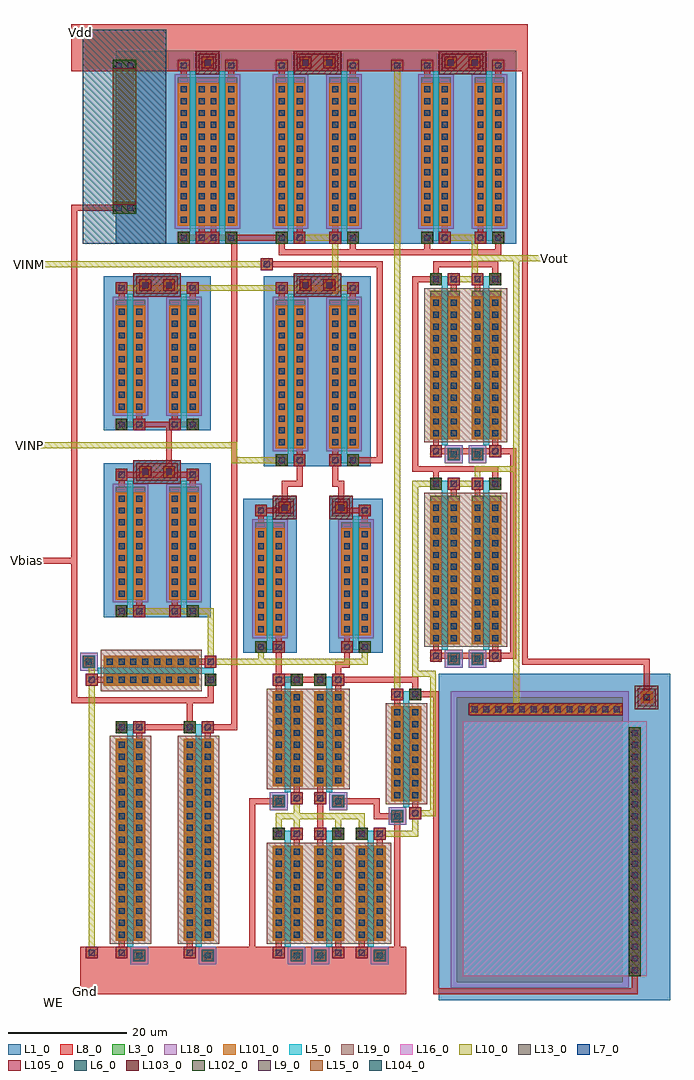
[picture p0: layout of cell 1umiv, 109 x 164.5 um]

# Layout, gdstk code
from math import pi, radians
import gdstk
lib = gdstk.Library(unit=1e-6, precision=1e-09)
def R(c, l, rs):  # rectangles x0, y0, x1, y1
    for r in rs: c.add(gdstk.rectangle(r[:2], r[2:], *l))
L1_0 = (1, 0)
L3_0 = (3, 0)
L5_0 = (5, 0)
L6_0 = (6, 0)
L7_0 = (7, 0)
L8_0 = (8, 0)
L9_0 = (9, 0)
L10_0 = (10, 0)
L13_0 = (13, 0)
L15_0 = (15, 0)
L16_0 = (16, 0)
L18_0 = (18, 0)
L19_0 = (19, 0)
L101_0 = (101, 0)
L102_0 = (102, 0)
L103_0 = (103, 0)
L104_0 = (104, 0)
L105_0 = (105, 0)

pcont = lib.new_cell('pcont')
R(pcont, L5_0, [(-1,-1,1,1)])
R(pcont, L7_0, [(-0.5,-0.5,0.5,0.5)])
R(pcont, L8_0, [(-1,-1,1,1)])
R(pcont, L13_0, [(-0.5,-0.5,0.5,0.5)])
R(pcont, L102_0, [(-1,-1,1,1)])
pcont.add(gdstk.Label('pcont', (0,0), layer=13, texttype=0))

via = lib.new_cell('Via')
R(via, L8_0, [(-1,-1,1,1)])
R(via, L9_0, [(-0.5,-0.5,0.5,0.5)])
R(via, L10_0, [(-1,-1,1,1)])
R(via, L13_0, [(-0.5,-0.5,0.5,0.5)])
R(via, L105_0, [(-1,-1,1,1)])
via.add(gdstk.Label('via', (0,0), layer=13, texttype=0))

dcont = lib.new_cell('dcont')
R(dcont, L3_0, [(-1,-1,1,1)])
R(dcont, L7_0, [(-0.5,-0.5,0.5,0.5)])
R(dcont, L8_0, [(-1,-1,1,1)])
R(dcont, L13_0, [(-0.5,-0.5,0.5,0.5)])
R(dcont, L101_0, [(-1,-1,1,1)])
dcont.add(gdstk.Label('dcont', (0,0), layer=13, texttype=0))

nsubcont = lib.new_cell('nsubcont')
R(nsubcont, L1_0, [(-2,-2,2,2)])
R(nsubcont, L19_0, [(-1.5,-1.5,1.5,1.5)])
R(nsubcont, L103_0, [(-2,-2,2,2)])
nsubcont.add(gdstk.Reference(dcont, (0,0)))
nsubcont.add(gdstk.Label('NScont', (0,0), layer=13, texttype=0))

capacitor_1 = lib.new_cell('Capacitor$1')
R(capacitor_1, L1_0, [(-4,-4,35,51)])
R(capacitor_1, L3_0, [(4,-1,32,47)])
R(capacitor_1, L5_0, [(0,0,31,43)])
R(capacitor_1, L16_0, [(0,0,31,43)])
R(capacitor_1, L18_0, [(3,-2,33,48)])
capacitor_1.add(gdstk.Reference(pcont, (2,1)))
capacitor_1.add(gdstk.Reference(pcont, (2,3)))
capacitor_1.add(gdstk.Reference(pcont, (2,5)))
capacitor_1.add(gdstk.Reference(pcont, (2,7)))
capacitor_1.add(gdstk.Reference(pcont, (2,9)))
capacitor_1.add(gdstk.Reference(pcont, (2,11)))
capacitor_1.add(gdstk.Reference(pcont, (2,13)))
capacitor_1.add(gdstk.Reference(pcont, (2,15)))
capacitor_1.add(gdstk.Reference(pcont, (2,17)))
capacitor_1.add(gdstk.Reference(pcont, (2,19)))
capacitor_1.add(gdstk.Reference(pcont, (2,21)))
capacitor_1.add(gdstk.Reference(pcont, (2,23)))
capacitor_1.add(gdstk.Reference(pcont, (2,25)))
capacitor_1.add(gdstk.Reference(pcont, (2,27)))
capacitor_1.add(gdstk.Reference(pcont, (2,29)))
capacitor_1.add(gdstk.Reference(pcont, (2,31)))
capacitor_1.add(gdstk.Reference(pcont, (2,33)))
capacitor_1.add(gdstk.Reference(pcont, (2,35)))
capacitor_1.add(gdstk.Reference(pcont, (2,37)))
capacitor_1.add(gdstk.Reference(pcont, (2,39)))
capacitor_1.add(gdstk.Reference(pcont, (2,41)))
capacitor_1.add(gdstk.Reference(via, (2,1)))
capacitor_1.add(gdstk.Reference(via, (2,3)))
capacitor_1.add(gdstk.Reference(via, (2,5)))
capacitor_1.add(gdstk.Reference(via, (2,7)))
capacitor_1.add(gdstk.Reference(via, (2,9)))
capacitor_1.add(gdstk.Reference(via, (2,11)))
capacitor_1.add(gdstk.Reference(via, (2,13)))
capacitor_1.add(gdstk.Reference(via, (2,15)))
capacitor_1.add(gdstk.Reference(via, (2,17)))
capacitor_1.add(gdstk.Reference(via, (2,19)))
capacitor_1.add(gdstk.Reference(via, (2,21)))
capacitor_1.add(gdstk.Reference(via, (2,23)))
capacitor_1.add(gdstk.Reference(via, (2,25)))
capacitor_1.add(gdstk.Reference(via, (2,27)))
capacitor_1.add(gdstk.Reference(via, (2,29)))
capacitor_1.add(gdstk.Reference(via, (2,31)))
capacitor_1.add(gdstk.Reference(via, (2,33)))
capacitor_1.add(gdstk.Reference(via, (2,35)))
capacitor_1.add(gdstk.Reference(via, (2,37)))
capacitor_1.add(gdstk.Reference(via, (2,39)))
capacitor_1.add(gdstk.Reference(via, (2,41)))
capacitor_1.add(gdstk.Reference(dcont, (5,45)))
capacitor_1.add(gdstk.Reference(dcont, (7,45)))
capacitor_1.add(gdstk.Reference(dcont, (9,45)))
capacitor_1.add(gdstk.Reference(dcont, (11,45)))
capacitor_1.add(gdstk.Reference(dcont, (13,45)))
capacitor_1.add(gdstk.Reference(dcont, (15,45)))
capacitor_1.add(gdstk.Reference(dcont, (17,45)))
capacitor_1.add(gdstk.Reference(dcont, (19,45)))
capacitor_1.add(gdstk.Reference(dcont, (21,45)))
capacitor_1.add(gdstk.Reference(dcont, (23,45)))
capacitor_1.add(gdstk.Reference(dcont, (25,45)))
capacitor_1.add(gdstk.Reference(dcont, (27,45)))
capacitor_1.add(gdstk.Reference(dcont, (29,45)))
capacitor_1.add(gdstk.Reference(via, (5,45)))
capacitor_1.add(gdstk.Reference(via, (7,45)))
capacitor_1.add(gdstk.Reference(via, (9,45)))
capacitor_1.add(gdstk.Reference(via, (11,45)))
capacitor_1.add(gdstk.Reference(via, (13,45)))
capacitor_1.add(gdstk.Reference(via, (15,45)))
capacitor_1.add(gdstk.Reference(via, (17,45)))
capacitor_1.add(gdstk.Reference(via, (19,45)))
capacitor_1.add(gdstk.Reference(via, (21,45)))
capacitor_1.add(gdstk.Reference(via, (23,45)))
capacitor_1.add(gdstk.Reference(via, (25,45)))
capacitor_1.add(gdstk.Reference(via, (27,45)))
capacitor_1.add(gdstk.Reference(via, (29,45)))
capacitor_1.add(gdstk.Reference(nsubcont, (0,47)))

pch_9 = lib.new_cell('Pch$9')
R(pch_9, L1_0, [(-2,0,7,26)])
R(pch_9, L3_0, [(0,3,5,22)])
R(pch_9, L18_0, [(-0.5,2.5,5.5,22.5)])
pch_9.add(gdstk.FlexPath([(1,3),(1,22)], 2, ends="flush", simple_path=True, layer=8, datatype=0))  # L8_0
pch_9.add(gdstk.FlexPath([(4,3),(4,22)], 2, ends="flush", simple_path=True, layer=8, datatype=0))  # L8_0
pch_9.add(gdstk.FlexPath([(1,22),(1,24)], 1, ends="flush", simple_path=True, layer=8, datatype=0))  # L8_0
pch_9.add(gdstk.FlexPath([(4,0),(4,3)], 1, ends="flush", simple_path=True, layer=8, datatype=0))  # L8_0
pch_9.add(gdstk.FlexPath([(2.5,3),(2.5,22)], 1, ends=(1, 1), simple_path=True, layer=5, datatype=0))  # L5_0
pch_9.add(gdstk.FlexPath([(1,1),(2.5,1),(2.5,2)], 1, ends="flush", simple_path=True, layer=5, datatype=0))  # L5_0
pch_9.add(gdstk.Reference(dcont, (1,4)))
pch_9.add(gdstk.Reference(dcont, (1,6)))
pch_9.add(gdstk.Reference(dcont, (1,8)))
pch_9.add(gdstk.Reference(dcont, (1,10)))
pch_9.add(gdstk.Reference(dcont, (1,12)))
pch_9.add(gdstk.Reference(dcont, (1,14)))
pch_9.add(gdstk.Reference(dcont, (1,16)))
pch_9.add(gdstk.Reference(dcont, (1,18)))
pch_9.add(gdstk.Reference(dcont, (1,20)))
pch_9.add(gdstk.Reference(dcont, (4,4)))
pch_9.add(gdstk.Reference(dcont, (4,6)))
pch_9.add(gdstk.Reference(dcont, (4,8)))
pch_9.add(gdstk.Reference(dcont, (4,10)))
pch_9.add(gdstk.Reference(dcont, (4,12)))
pch_9.add(gdstk.Reference(dcont, (4,14)))
pch_9.add(gdstk.Reference(dcont, (4,16)))
pch_9.add(gdstk.Reference(dcont, (4,18)))
pch_9.add(gdstk.Reference(dcont, (4,20)))
pch_9.add(gdstk.Reference(pcont, (1,1)))
pch_9.add(gdstk.Reference(via, (1,1)))
pch_9.add(gdstk.Reference(via, (1,24)))
pch_9.add(gdstk.Reference(via, (4,1)))
pch_9.add(gdstk.Reference(nsubcont, (5,24.5)))
pch_9.add(gdstk.Reference(via, (5,24.5)))

psubcont = lib.new_cell('psubcont')
R(psubcont, L18_0, [(-1.5,-1.5,1.5,1.5)])
R(psubcont, L104_0, [(-1,-1,1,1)])
psubcont.add(gdstk.Reference(dcont, (0,0)))
psubcont.add(gdstk.Label('PScon', (0,0), layer=13, texttype=0))

nch = lib.new_cell('Nch')
R(nch, L3_0, [(0,3,5,19)])
R(nch, L19_0, [(-1,2.5,6,19.5)])
nch.add(gdstk.FlexPath([(1,3),(1,19)], 2, ends="flush", simple_path=True, layer=8, datatype=0))  # L8_0
nch.add(gdstk.FlexPath([(4,3),(4,19)], 2, ends="flush", simple_path=True, layer=8, datatype=0))  # L8_0
nch.add(gdstk.FlexPath([(1,1),(1,4)], 1, ends="flush", simple_path=True, layer=8, datatype=0))  # L8_0
nch.add(gdstk.FlexPath([(4,19),(4,22)], 1, ends="flush", simple_path=True, layer=8, datatype=0))  # L8_0
nch.add(gdstk.FlexPath([(2.5,3),(2.5,19)], 1, ends=(1, 1), simple_path=True, layer=5, datatype=0))  # L5_0
nch.add(gdstk.FlexPath([(1,21),(2.5,21),(2.5,20)], 1, ends="flush", simple_path=True, layer=5, datatype=0))  # L5_0
nch.add(gdstk.Reference(dcont, (1,4)))
nch.add(gdstk.Reference(dcont, (1,6)))
nch.add(gdstk.Reference(dcont, (1,8)))
nch.add(gdstk.Reference(dcont, (1,10)))
nch.add(gdstk.Reference(dcont, (1,12)))
nch.add(gdstk.Reference(dcont, (1,14)))
nch.add(gdstk.Reference(dcont, (1,16)))
nch.add(gdstk.Reference(dcont, (1,18)))
nch.add(gdstk.Reference(dcont, (4,4)))
nch.add(gdstk.Reference(dcont, (4,6)))
nch.add(gdstk.Reference(dcont, (4,8)))
nch.add(gdstk.Reference(dcont, (4,10)))
nch.add(gdstk.Reference(dcont, (4,12)))
nch.add(gdstk.Reference(dcont, (4,14)))
nch.add(gdstk.Reference(dcont, (4,16)))
nch.add(gdstk.Reference(dcont, (4,18)))
nch.add(gdstk.Reference(pcont, (1,21)))
nch.add(gdstk.Reference(via, (1,21)))
nch.add(gdstk.Reference(via, (1,1)))
nch.add(gdstk.Reference(via, (4,21)))
nch.add(gdstk.Reference(psubcont, (4,0.5)))
nch.add(gdstk.Reference(via, (4,0.5)))

nch_1 = lib.new_cell('Nch$1')
R(nch_1, L3_0, [(0,3,5,37)])
R(nch_1, L19_0, [(-1,2.5,6,37.5)])
nch_1.add(gdstk.FlexPath([(1,3),(1,37)], 2, ends="flush", simple_path=True, layer=8, datatype=0))  # L8_0
nch_1.add(gdstk.FlexPath([(4,3),(4,37)], 2, ends="flush", simple_path=True, layer=8, datatype=0))  # L8_0
nch_1.add(gdstk.FlexPath([(1,1),(1,4)], 1, ends="flush", simple_path=True, layer=8, datatype=0))  # L8_0
nch_1.add(gdstk.FlexPath([(4,37),(4,40)], 1, ends="flush", simple_path=True, layer=8, datatype=0))  # L8_0
nch_1.add(gdstk.FlexPath([(2.5,3),(2.5,37)], 1, ends=(1, 1), simple_path=True, layer=5, datatype=0))  # L5_0
nch_1.add(gdstk.FlexPath([(1,39),(2.5,39),(2.5,38)], 1, ends="flush", simple_path=True, layer=5, datatype=0))  # L5_0
nch_1.add(gdstk.Reference(dcont, (1,4)))
nch_1.add(gdstk.Reference(dcont, (1,6)))
nch_1.add(gdstk.Reference(dcont, (1,8)))
nch_1.add(gdstk.Reference(dcont, (1,10)))
nch_1.add(gdstk.Reference(dcont, (1,12)))
nch_1.add(gdstk.Reference(dcont, (1,14)))
nch_1.add(gdstk.Reference(dcont, (1,16)))
nch_1.add(gdstk.Reference(dcont, (1,18)))
nch_1.add(gdstk.Reference(dcont, (1,20)))
nch_1.add(gdstk.Reference(dcont, (1,22)))
nch_1.add(gdstk.Reference(dcont, (1,24)))
nch_1.add(gdstk.Reference(dcont, (1,26)))
nch_1.add(gdstk.Reference(dcont, (1,28)))
nch_1.add(gdstk.Reference(dcont, (1,30)))
nch_1.add(gdstk.Reference(dcont, (1,32)))
nch_1.add(gdstk.Reference(dcont, (1,34)))
nch_1.add(gdstk.Reference(dcont, (1,36)))
nch_1.add(gdstk.Reference(dcont, (4,4)))
nch_1.add(gdstk.Reference(dcont, (4,6)))
nch_1.add(gdstk.Reference(dcont, (4,8)))
nch_1.add(gdstk.Reference(dcont, (4,10)))
nch_1.add(gdstk.Reference(dcont, (4,12)))
nch_1.add(gdstk.Reference(dcont, (4,14)))
nch_1.add(gdstk.Reference(dcont, (4,16)))
nch_1.add(gdstk.Reference(dcont, (4,18)))
nch_1.add(gdstk.Reference(dcont, (4,20)))
nch_1.add(gdstk.Reference(dcont, (4,22)))
nch_1.add(gdstk.Reference(dcont, (4,24)))
nch_1.add(gdstk.Reference(dcont, (4,26)))
nch_1.add(gdstk.Reference(dcont, (4,28)))
nch_1.add(gdstk.Reference(dcont, (4,30)))
nch_1.add(gdstk.Reference(dcont, (4,32)))
nch_1.add(gdstk.Reference(dcont, (4,34)))
nch_1.add(gdstk.Reference(dcont, (4,36)))
nch_1.add(gdstk.Reference(pcont, (1,39)))
nch_1.add(gdstk.Reference(via, (1,39)))
nch_1.add(gdstk.Reference(via, (1,1)))
nch_1.add(gdstk.Reference(via, (4,39)))
nch_1.add(gdstk.Reference(psubcont, (4,0.5)))
nch_1.add(gdstk.Reference(via, (4,0.5)))

via_1 = lib.new_cell('Via$1')
R(via_1, L8_0, [(-1,-1,1,1)])
R(via_1, L9_0, [(-0.5,-0.5,0.5,0.5)])
R(via_1, L10_0, [(-1,-1,1,1)])
R(via_1, L13_0, [(-0.5,-0.5,0.5,0.5)])
R(via_1, L105_0, [(-1,-1,1,1)])
via_1.add(gdstk.Label('via', (0,0), layer=13, texttype=0))

nch_2 = lib.new_cell('Nch$2')
R(nch_2, L3_0, [(0,3,5,28)])
R(nch_2, L19_0, [(-1,2.5,6,28.5)])
nch_2.add(gdstk.FlexPath([(1,3),(1,28)], 2, ends="flush", simple_path=True, layer=8, datatype=0))  # L8_0
nch_2.add(gdstk.FlexPath([(4,3),(4,28)], 2, ends="flush", simple_path=True, layer=8, datatype=0))  # L8_0
nch_2.add(gdstk.FlexPath([(1,1),(1,4)], 1, ends="flush", simple_path=True, layer=8, datatype=0))  # L8_0
nch_2.add(gdstk.FlexPath([(4,28),(4,31)], 1, ends="flush", simple_path=True, layer=8, datatype=0))  # L8_0
nch_2.add(gdstk.FlexPath([(2.5,3),(2.5,28)], 1, ends=(1, 1), simple_path=True, layer=5, datatype=0))  # L5_0
nch_2.add(gdstk.FlexPath([(1,30),(2.5,30),(2.5,29)], 1, ends="flush", simple_path=True, layer=5, datatype=0))  # L5_0
nch_2.add(gdstk.Reference(dcont, (1,4)))
nch_2.add(gdstk.Reference(dcont, (1,6)))
nch_2.add(gdstk.Reference(dcont, (1,8)))
nch_2.add(gdstk.Reference(dcont, (1,10)))
nch_2.add(gdstk.Reference(dcont, (1,12)))
nch_2.add(gdstk.Reference(dcont, (1,14)))
nch_2.add(gdstk.Reference(dcont, (1,16)))
nch_2.add(gdstk.Reference(dcont, (1,18)))
nch_2.add(gdstk.Reference(dcont, (1,20)))
nch_2.add(gdstk.Reference(dcont, (1,22)))
nch_2.add(gdstk.Reference(dcont, (1,24)))
nch_2.add(gdstk.Reference(dcont, (1,26)))
nch_2.add(gdstk.Reference(dcont, (4,4)))
nch_2.add(gdstk.Reference(dcont, (4,6)))
nch_2.add(gdstk.Reference(dcont, (4,8)))
nch_2.add(gdstk.Reference(dcont, (4,10)))
nch_2.add(gdstk.Reference(dcont, (4,12)))
nch_2.add(gdstk.Reference(dcont, (4,14)))
nch_2.add(gdstk.Reference(dcont, (4,16)))
nch_2.add(gdstk.Reference(dcont, (4,18)))
nch_2.add(gdstk.Reference(dcont, (4,20)))
nch_2.add(gdstk.Reference(dcont, (4,22)))
nch_2.add(gdstk.Reference(dcont, (4,24)))
nch_2.add(gdstk.Reference(dcont, (4,26)))
nch_2.add(gdstk.Reference(pcont, (1,30)))
nch_2.add(gdstk.Reference(via, (1,30)))
nch_2.add(gdstk.Reference(via, (1,1)))
nch_2.add(gdstk.Reference(via, (4,30)))
nch_2.add(gdstk.Reference(psubcont, (4,0.5)))
nch_2.add(gdstk.Reference(via, (4,0.5)))

pch = lib.new_cell('Pch')
R(pch, L1_0, [(-2,0,7,32)])
R(pch, L3_0, [(0,3,5,28)])
R(pch, L18_0, [(-0.5,2.5,5.5,28.5)])
pch.add(gdstk.FlexPath([(1,3),(1,28)], 2, ends="flush", simple_path=True, layer=8, datatype=0))  # L8_0
pch.add(gdstk.FlexPath([(4,3),(4,28)], 2, ends="flush", simple_path=True, layer=8, datatype=0))  # L8_0
pch.add(gdstk.FlexPath([(1,28),(1,30)], 1, ends="flush", simple_path=True, layer=8, datatype=0))  # L8_0
pch.add(gdstk.FlexPath([(4,0),(4,3)], 1, ends="flush", simple_path=True, layer=8, datatype=0))  # L8_0
pch.add(gdstk.FlexPath([(2.5,3),(2.5,28)], 1, ends=(1, 1), simple_path=True, layer=5, datatype=0))  # L5_0
pch.add(gdstk.FlexPath([(1,1),(2.5,1),(2.5,2)], 1, ends="flush", simple_path=True, layer=5, datatype=0))  # L5_0
pch.add(gdstk.Reference(dcont, (1,4)))
pch.add(gdstk.Reference(dcont, (1,6)))
pch.add(gdstk.Reference(dcont, (1,8)))
pch.add(gdstk.Reference(dcont, (1,10)))
pch.add(gdstk.Reference(dcont, (1,12)))
pch.add(gdstk.Reference(dcont, (1,14)))
pch.add(gdstk.Reference(dcont, (1,16)))
pch.add(gdstk.Reference(dcont, (1,18)))
pch.add(gdstk.Reference(dcont, (1,20)))
pch.add(gdstk.Reference(dcont, (1,22)))
pch.add(gdstk.Reference(dcont, (1,24)))
pch.add(gdstk.Reference(dcont, (1,26)))
pch.add(gdstk.Reference(dcont, (4,4)))
pch.add(gdstk.Reference(dcont, (4,6)))
pch.add(gdstk.Reference(dcont, (4,8)))
pch.add(gdstk.Reference(dcont, (4,10)))
pch.add(gdstk.Reference(dcont, (4,12)))
pch.add(gdstk.Reference(dcont, (4,14)))
pch.add(gdstk.Reference(dcont, (4,16)))
pch.add(gdstk.Reference(dcont, (4,18)))
pch.add(gdstk.Reference(dcont, (4,20)))
pch.add(gdstk.Reference(dcont, (4,22)))
pch.add(gdstk.Reference(dcont, (4,24)))
pch.add(gdstk.Reference(dcont, (4,26)))
pch.add(gdstk.Reference(pcont, (1,1)))
pch.add(gdstk.Reference(via, (1,1)))
pch.add(gdstk.Reference(via, (1,30)))
pch.add(gdstk.Reference(via, (4,1)))
pch.add(gdstk.Reference(nsubcont, (5,30.5)))
pch.add(gdstk.Reference(via, (5,30.5)))

hr_poly = lib.new_cell('HR_poly')
R(hr_poly, L6_0, [(-6,-5,8,31)])
R(hr_poly, L8_0, [(-1,0,3,2), (-1,24,3,26)])
R(hr_poly, L10_0, [(-1,0,3,2), (-1,24,3,26)])
hr_poly.add(gdstk.FlexPath([(1,2),(1,24)], 4, ends="extended", simple_path=True, layer=5, datatype=0))  # L5_0
hr_poly.add(gdstk.FlexPath([(1,2),(1,24)], 4, ends=(0.5, 0.5), simple_path=True, layer=15, datatype=0))  # L15_0
hr_poly.add(gdstk.Reference(via, (0,1)))
hr_poly.add(gdstk.Reference(pcont, (0,1)))
hr_poly.add(gdstk.Reference(via, (2,1)))
hr_poly.add(gdstk.Reference(pcont, (2,1)))
hr_poly.add(gdstk.Reference(via, (0,25)))
hr_poly.add(gdstk.Reference(pcont, (0,25)))
hr_poly.add(gdstk.Reference(via, (2,25)))
hr_poly.add(gdstk.Reference(pcont, (2,25)))

dcont_2 = lib.new_cell('dcont$2')
R(dcont_2, L3_0, [(-1,-1,1,1)])
R(dcont_2, L7_0, [(-0.5,-0.5,0.5,0.5)])
R(dcont_2, L8_0, [(-1,-1,1,1)])
R(dcont_2, L13_0, [(-0.5,-0.5,0.5,0.5)])
R(dcont_2, L101_0, [(-1,-1,1,1)])
dcont_2.add(gdstk.Label('dcont', (0,0), layer=13, texttype=0))

pcont_1 = lib.new_cell('pcont$1')
R(pcont_1, L5_0, [(-1,-1,1,1)])
R(pcont_1, L7_0, [(-0.5,-0.5,0.5,0.5)])
R(pcont_1, L8_0, [(-1,-1,1,1)])
R(pcont_1, L13_0, [(-0.5,-0.5,0.5,0.5)])
R(pcont_1, L102_0, [(-1,-1,1,1)])
pcont_1.add(gdstk.Label('pcont', (0,0), layer=13, texttype=0))

pch_1 = lib.new_cell('Pch$1')
R(pch_1, L1_0, [(-2,0,7,32)])
R(pch_1, L3_0, [(0,3,5,28)])
R(pch_1, L18_0, [(-0.5,2.5,5.5,28.5)])
pch_1.add(gdstk.FlexPath([(1,3),(1,28)], 2, ends="flush", simple_path=True, layer=8, datatype=0))  # L8_0
pch_1.add(gdstk.FlexPath([(4,3),(4,28)], 2, ends="flush", simple_path=True, layer=8, datatype=0))  # L8_0
pch_1.add(gdstk.FlexPath([(1,28),(1,30)], 1, ends="flush", simple_path=True, layer=8, datatype=0))  # L8_0
pch_1.add(gdstk.FlexPath([(4,0),(4,3)], 1, ends="flush", simple_path=True, layer=8, datatype=0))  # L8_0
pch_1.add(gdstk.FlexPath([(2.5,3),(2.5,28)], 1, ends=(1, 1), simple_path=True, layer=5, datatype=0))  # L5_0
pch_1.add(gdstk.FlexPath([(1,1),(2.5,1),(2.5,2)], 1, ends="flush", simple_path=True, layer=5, datatype=0))  # L5_0
pch_1.add(gdstk.Reference(dcont_2, (1,4)))
pch_1.add(gdstk.Reference(dcont_2, (1,6)))
pch_1.add(gdstk.Reference(dcont_2, (1,8)))
pch_1.add(gdstk.Reference(dcont_2, (1,10)))
pch_1.add(gdstk.Reference(dcont_2, (1,12)))
pch_1.add(gdstk.Reference(dcont_2, (1,14)))
pch_1.add(gdstk.Reference(dcont_2, (1,16)))
pch_1.add(gdstk.Reference(dcont_2, (1,18)))
pch_1.add(gdstk.Reference(dcont_2, (1,20)))
pch_1.add(gdstk.Reference(dcont_2, (1,22)))
pch_1.add(gdstk.Reference(dcont_2, (1,24)))
pch_1.add(gdstk.Reference(dcont_2, (1,26)))
pch_1.add(gdstk.Reference(dcont_2, (4,4)))
pch_1.add(gdstk.Reference(dcont_2, (4,6)))
pch_1.add(gdstk.Reference(dcont_2, (4,8)))
pch_1.add(gdstk.Reference(dcont_2, (4,10)))
pch_1.add(gdstk.Reference(dcont_2, (4,12)))
pch_1.add(gdstk.Reference(dcont_2, (4,14)))
pch_1.add(gdstk.Reference(dcont_2, (4,16)))
pch_1.add(gdstk.Reference(dcont_2, (4,18)))
pch_1.add(gdstk.Reference(dcont_2, (4,20)))
pch_1.add(gdstk.Reference(dcont_2, (4,22)))
pch_1.add(gdstk.Reference(dcont_2, (4,24)))
pch_1.add(gdstk.Reference(dcont_2, (4,26)))
pch_1.add(gdstk.Reference(pcont_1, (1,1)))
pch_1.add(gdstk.Reference(via_1, (1,1)))
pch_1.add(gdstk.Reference(via_1, (1,30)))
pch_1.add(gdstk.Reference(via_1, (4,1)))
pch_1.add(gdstk.Reference(via_1, (5,30.5)))

c_1umiv = lib.new_cell('1umiv')
R(c_1umiv, L1_0, [(10,123.5,77.5,156)])
R(c_1umiv, L19_0, [(13.5,83.5,20.5,86.5), (13.5,115,20.5,118), (40.5,115,47.5,118), (40.5,152.5,47.5,155.5), (65,152.5,72,155.5)])
c_1umiv.add(gdstk.FlexPath([(19,93.5),(19,84)], 1, ends="flush", simple_path=True, layer=8, datatype=0))  # L8_0
c_1umiv.add(gdstk.FlexPath([(10,84.5),(24,84.5)], 1, ends="flush", simple_path=True, layer=8, datatype=0))  # L8_0
c_1umiv.add(gdstk.FlexPath([(38.5,78.5),(38.5,83),(41,83),(41,88)], 1, ends="flush", simple_path=True, layer=8, datatype=0))  # L8_0
c_1umiv.add(gdstk.FlexPath([(47,88),(47,83),(48,83),(48,78.5)], 1, ends="flush", simple_path=True, layer=8, datatype=0))  # L8_0
c_1umiv.add(gdstk.FlexPath([(49,55.5),(49,52.5),(47.5,52.5),(47.5,50)], 1, ends="flush", simple_path=True, layer=8, datatype=0))  # L8_0
c_1umiv.add(gdstk.FlexPath([(37.5,56.5),(37.5,49.5)], 1, ends="flush", simple_path=True, layer=8, datatype=0))  # L8_0
c_1umiv.add(gdstk.FlexPath([(48,78.5),(53,78.5)], 1, ends="flush", simple_path=True, layer=8, datatype=0))  # L8_0
c_1umiv.add(gdstk.FlexPath([(35,78.5),(38.5,78.5)], 1, ends="flush", simple_path=True, layer=8, datatype=0))  # L8_0
c_1umiv.add(gdstk.FlexPath([(22.5,46.5),(3,46.5),(3,129.5)], 1, ends="flush", simple_path=True, layer=8, datatype=0))  # L8_0
c_1umiv.add(gdstk.FlexPath([(26,51),(26,46.5),(22.5,46.5),(22.5,41.5)], 1, ends="flush", simple_path=True, layer=8, datatype=0))  # L8_0
c_1umiv.add(gdstk.FlexPath([(37,29.5),(33,29.5),(33,2.5)], 1, ends="flush", simple_path=True, layer=8, datatype=0))  # L8_0
c_1umiv.add(gdstk.FlexPath([(60.5,47.5),(60.5,50),(47,50)], 1, ends="flush", simple_path=True, layer=8, datatype=0))  # L8_0
c_1umiv.add(gdstk.FlexPath([(79,152.5),(79,53),(99.5,53),(99.5,46.5)], 1, ends="flush", simple_path=True, layer=8, datatype=0))  # L8_0
c_1umiv.add(gdstk.FlexPath([(44.5,31),(44.5,23)], 1, ends="flush", simple_path=True, layer=8, datatype=0))  # L8_0
c_1umiv.add(gdstk.FlexPath([(38,50.5),(40.5,50.5)], 1, ends="flush", simple_path=True, layer=8, datatype=0))  # L8_0
c_1umiv.add(gdstk.FlexPath([(37,50),(45,50)], 1, ends="flush", simple_path=True, layer=8, datatype=0))  # L8_0
c_1umiv.add(gdstk.FlexPath([(47.5,29.5),(54,29.5),(54,27),(57.5,27),(57.5,3.5)], 1, ends="flush", simple_path=True, layer=8, datatype=0))  # L8_0
c_1umiv.add(gdstk.FlexPath([(60.5,47.5),(64,47.5),(64,-2.5),(97.5,-2.5),(97.5,4)], 1, ends="flush", simple_path=True, layer=8, datatype=0))  # L8_0
c_1umiv.add(gdstk.FlexPath([(4,1),(59,1)], 8, ends="flush", simple_path=True, layer=8, datatype=0))  # L8_0
c_1umiv.add(gdstk.FlexPath([(74,82.5),(74,85.5)], 1, ends="flush", simple_path=True, layer=8, datatype=0))  # L8_0
c_1umiv.add(gdstk.FlexPath([(63.5,88.5),(77,88.5),(77,54),(64,54)], 1, ends="flush", simple_path=True, layer=8, datatype=0))  # L8_0
c_1umiv.add(gdstk.FlexPath([(2.5,156.5),(79.5,156.5)], 8, ends="flush", simple_path=True, layer=8, datatype=0))  # L8_0
c_1umiv.add(gdstk.FlexPath([(74,117.5),(74,120),(64,120),(64,117.5),(60.5,117.5),(60.5,85.5),(64.5,85.5)], 1, ends="flush", simple_path=True, layer=8, datatype=0))  # L8_0
c_1umiv.add(gdstk.FlexPath([(64,82.5),(64,85.5),(74.5,85.5)], 1, ends="flush", simple_path=True, layer=8, datatype=0))  # L8_0
c_1umiv.add(gdstk.FlexPath([(10.5,129.5),(2.5,129.5)], 1, ends="flush", simple_path=True, layer=8, datatype=0))  # L8_0
c_1umiv.add(gdstk.FlexPath([(3,70),(-5.5,70)], 1, ends="flush", simple_path=True, layer=8, datatype=0))  # L8_0
c_1umiv.add(gdstk.FlexPath([(21.5,124.5),(39,124.5)], 1, ends="flush", simple_path=True, layer=8, datatype=0))  # L8_0
c_1umiv.add(gdstk.FlexPath([(25,42),(30,42),(30,124)], 1, ends="flush", simple_path=True, layer=8, datatype=0))  # L8_0
c_1umiv.add(gdstk.FlexPath([(11,42),(23.5,42)], 1, ends="flush", simple_path=True, layer=8, datatype=0))  # L8_0
c_1umiv.add(gdstk.FlexPath([(11.5,93),(22.5,93)], 1, ends="flush", simple_path=True, layer=8, datatype=0))  # L8_0
c_1umiv.add(gdstk.FlexPath([(49,87),(54.5,87),(54.5,120),(34.5,120)], 1, ends="flush", simple_path=True, layer=8, datatype=0))  # L8_0
c_1umiv.add(gdstk.FlexPath([(50,125.5),(50,122)], 1, ends="flush", simple_path=True, layer=8, datatype=0))  # L8_0
c_1umiv.add(gdstk.FlexPath([(62.5,125.5),(62.5,122)], 1, ends="flush", simple_path=True, layer=8, datatype=0))  # L8_0
c_1umiv.add(gdstk.FlexPath([(38,125.5),(38,122),(74.5,122),(74.5,125.5)], 1, ends="flush", simple_path=True, layer=8, datatype=0))  # L8_0
c_1umiv.add(gdstk.FlexPath([(77.5,85.5),(77.5,45)], 1, ends="flush", simple_path=True, layer=10, datatype=0))  # L10_0
c_1umiv.add(gdstk.FlexPath([(26,52.5),(26,61.5),(22,61.5)], 1, ends="flush", simple_path=True, layer=10, datatype=0))  # L10_0
c_1umiv.add(gdstk.FlexPath([(11,61.5),(22.5,61.5)], 1, ends="flush", simple_path=True, layer=10, datatype=0))  # L10_0
c_1umiv.add(gdstk.FlexPath([(34.5,56.5),(34.5,53)], 1, ends="flush", simple_path=True, layer=10, datatype=0))  # L10_0
c_1umiv.add(gdstk.FlexPath([(26,53),(52,53),(52,56.5)], 1, ends="flush", simple_path=True, layer=10, datatype=0))  # L10_0
c_1umiv.add(gdstk.FlexPath([(6,54),(6,3.5)], 1, ends="flush", simple_path=True, layer=10, datatype=0))  # L10_0
c_1umiv.add(gdstk.FlexPath([(40.5,31),(40.5,23)], 1, ends="flush", simple_path=True, layer=10, datatype=0))  # L10_0
c_1umiv.add(gdstk.FlexPath([(77.5,121),(77.5,85.5),(71,85.5),(71,82.5)], 1, ends="flush", simple_path=True, layer=10, datatype=0))  # L10_0
c_1umiv.add(gdstk.FlexPath([(66.5,83),(71,83)], 1, ends="flush", simple_path=True, layer=10, datatype=0))  # L10_0
c_1umiv.add(gdstk.FlexPath([(57.5,47),(57.5,154)], 1, ends="flush", simple_path=True, layer=10, datatype=0))  # L10_0
c_1umiv.add(gdstk.FlexPath([(60.5,27.5),(60.5,24),(54.5,24)], 1, ends="flush", simple_path=True, layer=10, datatype=0))  # L10_0
c_1umiv.add(gdstk.FlexPath([(60.5,27.5),(63.5,27.5),(63.5,51),(60.5,51),(60.5,83),(64,83)], 1, ends="flush", simple_path=True, layer=10, datatype=0))  # L10_0
c_1umiv.add(gdstk.FlexPath([(70.5,121),(84.5,121)], 1, ends="flush", simple_path=True, layer=10, datatype=0))  # L10_0
c_1umiv.add(gdstk.FlexPath([(39,87),(30,87),(30,89.5),(-5.5,89.5)], 1, ends="flush", simple_path=True, layer=10, datatype=0))  # L10_0
c_1umiv.add(gdstk.FlexPath([(36.5,120),(-5,120)], 1, ends="flush", simple_path=True, layer=10, datatype=0))  # L10_0
c_1umiv.add(gdstk.FlexPath([(47.5,23),(47.5,27)], 1, ends="flush", simple_path=True, layer=10, datatype=0))  # L10_0
c_1umiv.add(gdstk.FlexPath([(37.5,23),(37.5,27),(51.5,27),(51.5,23)], 1, ends="flush", simple_path=True, layer=10, datatype=0))  # L10_0
c_1umiv.add(gdstk.FlexPath([(51,116),(10,116)], 1, ends="flush", simple_path=True, layer=10, datatype=0))  # L10_0
c_1umiv.add(gdstk.FlexPath([(70.5,125),(70.5,117)], 1, ends="flush", simple_path=True, layer=10, datatype=0))  # L10_0
c_1umiv.add(gdstk.FlexPath([(65,124.5),(72,124.5)], 1, ends="flush", simple_path=True, layer=10, datatype=0))  # L10_0
c_1umiv.add(gdstk.FlexPath([(66.5,117.5),(71,117.5)], 1, ends="flush", simple_path=True, layer=10, datatype=0))  # L10_0
c_1umiv.add(gdstk.FlexPath([(47,125.5),(47,115)], 1, ends="flush", simple_path=True, layer=10, datatype=0))  # L10_0
c_1umiv.add(gdstk.FlexPath([(40.5,124.5),(47.5,124.5)], 1, ends="flush", simple_path=True, layer=10, datatype=0))  # L10_0
r = gdstk.Reference(capacitor_1, (99.5,0), rotation=pi, x_reflection=True); r.repetition = gdstk.Repetition(1, 1, v1=(0,0), v2=(0,0)); c_1umiv.add(r)
c_1umiv.add(gdstk.Reference(pch_9, (10,92)))
c_1umiv.add(gdstk.Reference(pch_9, (24,92), rotation=pi, x_reflection=True))
c_1umiv.add(gdstk.Reference(pch_9, (10,60.5)))
c_1umiv.add(gdstk.Reference(pch_9, (24,60.5), rotation=pi, x_reflection=True))
c_1umiv.add(gdstk.Reference(nch, (5,49), rotation=pi/2, x_reflection=True))
c_1umiv.add(gdstk.Reference(nch_1, (10,3)))
c_1umiv.add(gdstk.Reference(nch_1, (21.5,3)))
c_1umiv.add(gdstk.Reference(via_1, (6,4)))
c_1umiv.add(gdstk.Reference(via_1, (35.5,120)))
r = gdstk.Reference(via_1, (57.5,153.5)); r.repetition = gdstk.Repetition(1, 1, v1=(0,0), v2=(0,0)); c_1umiv.add(r)
c_1umiv.add(gdstk.Reference(nch_2, (75,53), rotation=pi, x_reflection=True))
c_1umiv.add(gdstk.Reference(nch_2, (63,53)))
c_1umiv.add(gdstk.Reference(nch_2, (75,87.5), rotation=pi, x_reflection=True))
c_1umiv.add(gdstk.Reference(nch_2, (63,87.5)))
c_1umiv.add(gdstk.Reference(nch, (48.5,3), rotation=pi, x_reflection=True))
c_1umiv.add(gdstk.Reference(nch, (36.5,3)))
c_1umiv.add(gdstk.Reference(nch, (50.5,3)))
c_1umiv.add(gdstk.Reference(nch, (43.5,29)))
c_1umiv.add(gdstk.Reference(nch, (41.5,29), rotation=pi, x_reflection=True))
c_1umiv.add(gdstk.Reference(pch_9, (53,54.5), rotation=pi, x_reflection=True))
c_1umiv.add(gdstk.Reference(pch_9, (33.5,54.5)))
c_1umiv.add(gdstk.Reference(pch, (51,86), rotation=pi, x_reflection=True))
c_1umiv.add(gdstk.Reference(pch, (37,86)))
c_1umiv.add(gdstk.Reference(pch, (75.5,123.5), rotation=pi, x_reflection=True))
c_1umiv.add(gdstk.Reference(pch, (61.5,123.5)))
c_1umiv.add(gdstk.Reference(pch, (51,123.5), rotation=pi, x_reflection=True))
c_1umiv.add(gdstk.Reference(pch, (37,123.5)))
c_1umiv.add(gdstk.Reference(hr_poly, (12.5,154.5), rotation=pi))
c_1umiv.add(gdstk.Reference(pch_1, (30.5,123.5), rotation=pi, x_reflection=True))
c_1umiv.add(gdstk.Reference(pch, (20.5,123.5)))
c_1umiv.add(gdstk.Reference(nch, (61.5,26.5), rotation=pi, x_reflection=True))
c_1umiv.add(gdstk.Label('Vbias', (-5,70), layer=8, texttype=0))
c_1umiv.add(gdstk.Label('Gnd', (5,-2.5), layer=8, texttype=0))
c_1umiv.add(gdstk.Label('Vdd', (4,159), layer=8, texttype=0))
c_1umiv.add(gdstk.Label('Vout', (84,121), layer=10, texttype=0))
c_1umiv.add(gdstk.Label('VINM', (-4.5,120), layer=10, texttype=0))
c_1umiv.add(gdstk.Label('VINP', (-4.5,89.5), layer=10, texttype=0))
c_1umiv.add(gdstk.Label('WE', (-0.5,-4.5), layer=10, texttype=0))
c_1umiv.add(gdstk.Label('Vdd_half', (-5,-5), layer=10, texttype=0))

lib.write_gds('1umiv.gds')
